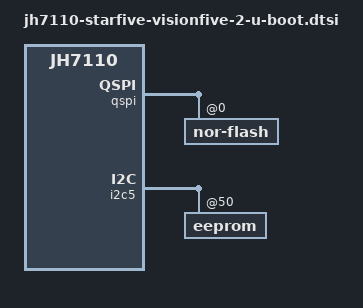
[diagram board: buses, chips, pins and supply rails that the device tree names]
// SPDX-License-Identifier: GPL-2.0 OR MIT
/*
 * Copyright (C) 2023 StarFive Technology Co., Ltd.
 */

#include "binman.dtsi"
#include "jh7110-u-boot.dtsi"
/ {
	chosen {
		bootph-pre-ram;
	};

	firmware {
		spi0 = &qspi;
		bootph-pre-ram;
	};

	config {
		bootph-pre-ram;
		u-boot,spl-payload-offset = <0x100000>;
	};

	memory@40000000 {
		bootph-pre-ram;
	};
};

&uart0 {
	bootph-pre-ram;
};

&mmc0 {
	bootph-pre-ram;
};

&mmc1 {
	bootph-pre-ram;
};

&qspi {
	bootph-pre-ram;

	nor-flash@0 {
		bootph-pre-ram;
	};
};

&sysgpio {
	bootph-pre-ram;
};

&mmc0_pins {
	bootph-pre-ram;
	mmc0-pins-rest {
		bootph-pre-ram;
	};
};

&mmc1_pins {
	bootph-pre-ram;
	mmc1-pins0 {
		bootph-pre-ram;
	};

	mmc1-pins1 {
		bootph-pre-ram;
	};
};

&i2c5_pins {
	bootph-pre-ram;
	i2c-pins {
		bootph-pre-ram;
	};
};

&i2c5 {
	bootph-pre-ram;
	eeprom@50 {
		bootph-pre-ram;
	};
};

&binman {
	itb {
		fit {
			images {
				fdt-1 {
					description = "NAME";
					load = <0x40400000>;
					compression = "none";

					uboot_fdt_blob: blob-ext {
						filename = "u-boot.dtb";
					};
				};
			};

			configurations {
				conf-1 {
					fdt = "fdt-1";
				};
			};
		};
	};

	spl-img {
		filename = "spl/u-boot-spl.bin.normal.out";

		mkimage {
			args = "-T sfspl";

			u-boot-spl {
			};
		};
	};
};
